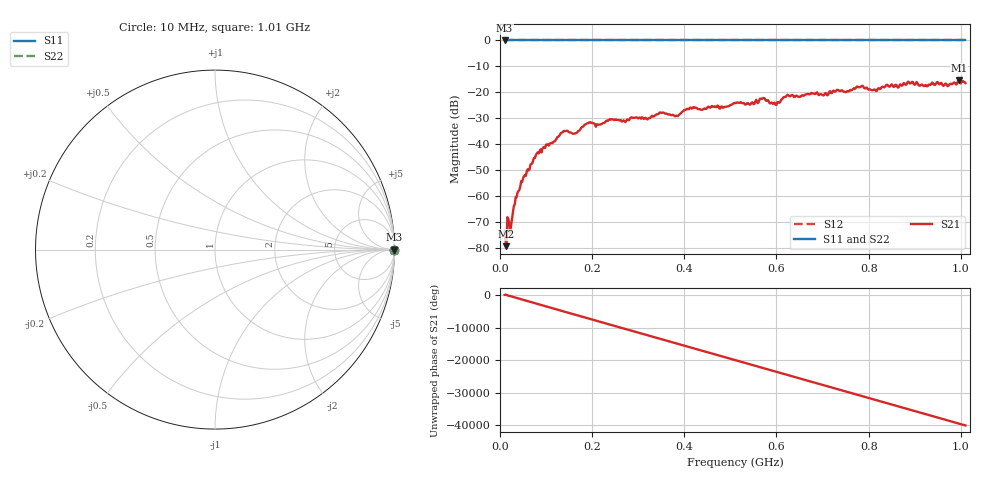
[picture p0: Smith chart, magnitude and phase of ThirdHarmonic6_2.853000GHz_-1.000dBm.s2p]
! 8/17/2025 7:44:05 AM
! C:\ANRITSUVNA\TEMP\TEMP.S2P
! CHANNEL.1
! TR.MEASUREMENT
! RAW.DATA
! RF.CORRECTION.OFF
! AVERAGING.OFF
! IF.BANDWIDTH: 5KHZ
! SWEEPTYPE:  FREQ.SWEEP(Linear)
! Reference Plane Port Info
! PORT:  PORT1  PORT2
! DISTANCE:  0  m  0  m
! TIME:  0  s  0  s
! PHASE.OFFSET:  0  deg.  0  deg.
! LOSS:  0  dB  0  dB
! REF.LOSS:  0  dB  0  dB
! REF.FREQ:  0  Hz  0  Hz
! Power Info
! POWER:  -20  dBm  -20  dBm
! EFF.POWER:  -20  dBm  -20  dBm
! SOURCE.ATTEN:  0  dB  0  dB
! TEST.ATTEN:  0  dB  0  dB
# GHZ S RI R 50.0
! FREQ.GHZ  S11RE  S11IM  S21RE  S21IM  S12RE  S12IM  S22RE  S22IM
!; PortSelection: Port_12
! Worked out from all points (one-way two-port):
!   501 points, 10 MHz to 1.01 GHz, reference 50 ohm
!   highest |S21| = -15.41 dB at 996 MHz (marker M1); lowest = -79.4 dB at 14 MHz (marker M2)
!   lowest |S11| = 0.0 dB at 10 MHz (marker M3)
!   |S11| at or under -10 dB: nowhere
!   |S22| runs from 0.0 to 0.0 dB; largest |S21 - S12| = 1.2
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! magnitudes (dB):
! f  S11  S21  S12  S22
! 10 MHz  0.0  -73.7  0.0  0.0
! 14 MHz  0.0  -79.4  0.0  0.0
! 24 MHz  0.0  -71.5  0.0  0.0
! 34 MHz  0.0  -60.4  0.0  0.0
! 48 MHz  0.0  -54.7  0.0  0.0
! 78 MHz  0.0  -44.2  0.0  0.0
! 136 MHz  0.0  -35.5  0.0  0.0
! 162 MHz  0.0  -35.9  0.0  0.0
! 178 MHz  0.0  -33.4  0.0  0.0
! 192 MHz  0.0  -31.9  0.0  0.0
! 322 MHz  0.0  -30.1  0.0  0.0
! 344 MHz  0.0  -28.3  0.0  0.0
! 384 MHz  0.0  -29.1  0.0  0.0
! 416 MHz  0.0  -26.3  0.0  0.0
! 510 MHz  0.0  -24.1  0.0  0.0
! 570 MHz  0.0  -22.4  0.0  0.0
! 596 MHz  0.0  -24.0  0.0  0.0
! 622 MHz  0.0  -21.3  0.0  0.0
! 678 MHz  0.0  -20.4  0.0  0.0
! 844 MHz  0.0  -17.8  0.0  0.0
! 996 MHz  0.0  -15.4  0.0  0.0
! 1.01 GHz  0.0  -16.5  0.0  0.0
